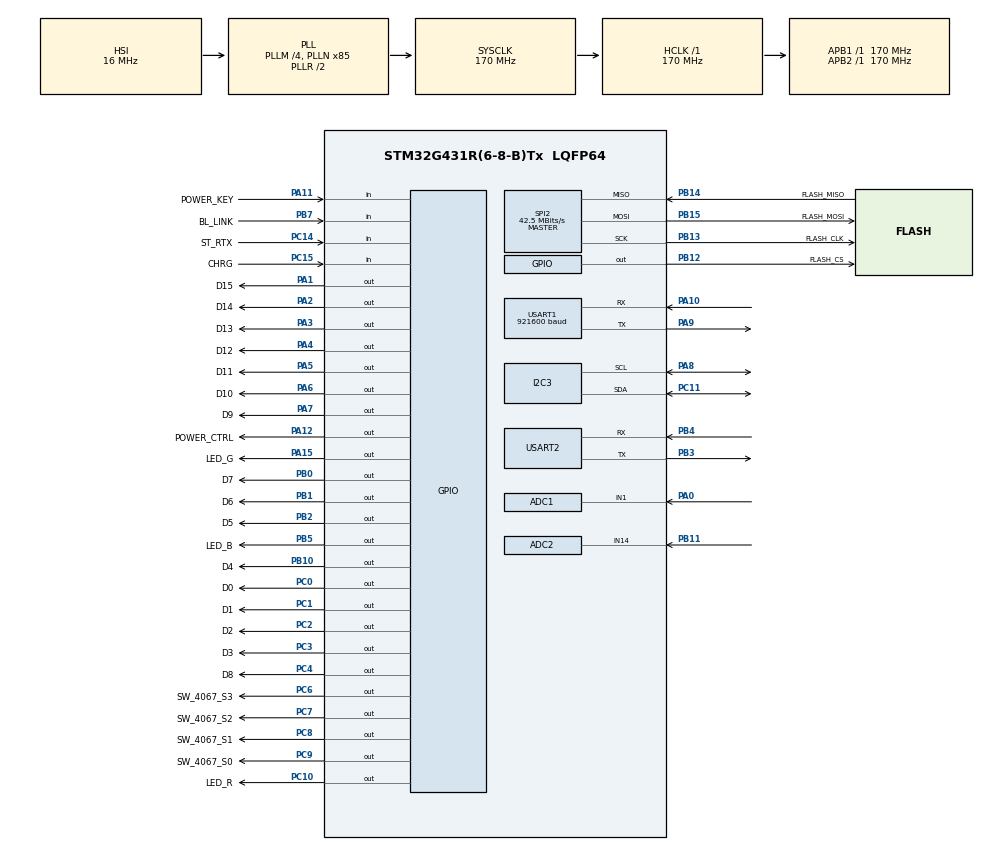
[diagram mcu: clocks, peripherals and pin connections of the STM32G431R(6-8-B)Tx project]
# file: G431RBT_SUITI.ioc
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ADC1.Channel-0\#ChannelRegularConversion=ADC_CHANNEL_1
ADC1.ContinuousConvMode=ENABLE
ADC1.DMAContinuousRequests=ENABLE
ADC1.NbrOfConversionFlag=1
ADC1.OffsetNumber-0\#ChannelRegularConversion=ADC_OFFSET_NONE
ADC1.Rank-0\#ChannelRegularConversion=1
ADC1.Resolution=ADC_RESOLUTION_12B
ADC1.SamplingTime-0\#ChannelRegularConversion=ADC_SAMPLETIME_640CYCLES_5
ADC1.master=1
ADC2.Channel-0\#ChannelRegularConversion=ADC_CHANNEL_14
ADC2.ContinuousConvMode=ENABLE
ADC2.DMAContinuousRequests=ENABLE
ADC2.NbrOfConversionFlag=1
ADC2.OffsetNumber-0\#ChannelRegularConversion=ADC_OFFSET_NONE
ADC2.Rank-0\#ChannelRegularConversion=1
ADC2.Resolution=ADC_RESOLUTION_8B
ADC2.SamplingTime-0\#ChannelRegularConversion=ADC_SAMPLETIME_2CYCLES_5
Dma.ADC1.0.Direction=DMA_PERIPH_TO_MEMORY
Dma.ADC1.0.EventEnable=DISABLE
Dma.ADC1.0.Instance=DMA1_Channel1
Dma.ADC1.0.MemDataAlignment=DMA_MDATAALIGN_BYTE
Dma.ADC1.0.MemInc=DMA_MINC_ENABLE
Dma.ADC1.0.Mode=DMA_NORMAL
Dma.ADC1.0.PeriphDataAlignment=DMA_PDATAALIGN_BYTE
Dma.ADC1.0.PeriphInc=DMA_PINC_DISABLE
Dma.ADC1.0.Polarity=HAL_DMAMUX_REQ_GEN_RISING
Dma.ADC1.0.Priority=DMA_PRIORITY_LOW
Dma.ADC1.0.RequestNumber=1
Dma.ADC1.0.SignalID=NONE
Dma.ADC1.0.SyncEnable=DISABLE
Dma.ADC1.0.SyncPolarity=HAL_DMAMUX_SYNC_NO_EVENT
Dma.ADC1.0.SyncRequestNumber=1
Dma.ADC1.0.SyncSignalID=NONE
Dma.ADC2.1.Direction=DMA_PERIPH_TO_MEMORY
Dma.ADC2.1.EventEnable=DISABLE
Dma.ADC2.1.Instance=DMA1_Channel2
Dma.ADC2.1.MemDataAlignment=DMA_MDATAALIGN_BYTE
Dma.ADC2.1.MemInc=DMA_MINC_ENABLE
Dma.ADC2.1.Mode=DMA_NORMAL
Dma.ADC2.1.PeriphDataAlignment=DMA_PDATAALIGN_BYTE
Dma.ADC2.1.PeriphInc=DMA_PINC_DISABLE
Dma.ADC2.1.Polarity=HAL_DMAMUX_REQ_GEN_RISING
Dma.ADC2.1.Priority=DMA_PRIORITY_LOW
Dma.ADC2.1.RequestNumber=1
Dma.ADC2.1.SignalID=NONE
Dma.ADC2.1.SyncEnable=DISABLE
Dma.ADC2.1.SyncPolarity=HAL_DMAMUX_SYNC_NO_EVENT
Dma.ADC2.1.SyncRequestNumber=1
Dma.ADC2.1.SyncSignalID=NONE
Dma.Request0=ADC1
Dma.Request1=ADC2
Dma.Request2=USART1_TX
Dma.Request3=USART2_RX
Dma.Request4=USART2_TX
Dma.Request5=SPI2_RX
Dma.Request6=SPI2_TX
Dma.Request7=USART1_RX
Dma.SPI2_RX.5.Direction=DMA_PERIPH_TO_MEMORY
Dma.SPI2_RX.5.EventEnable=DISABLE
Dma.SPI2_RX.5.Instance=DMA1_Channel6
Dma.SPI2_RX.5.MemDataAlignment=DMA_MDATAALIGN_BYTE
Dma.SPI2_RX.5.MemInc=DMA_MINC_ENABLE
Dma.SPI2_RX.5.Mode=DMA_NORMAL
Dma.SPI2_RX.5.PeriphDataAlignment=DMA_PDATAALIGN_BYTE
Dma.SPI2_RX.5.PeriphInc=DMA_PINC_DISABLE
Dma.SPI2_RX.5.Polarity=HAL_DMAMUX_REQ_GEN_RISING
Dma.SPI2_RX.5.Priority=DMA_PRIORITY_LOW
Dma.SPI2_RX.5.RequestNumber=1
Dma.SPI2_RX.5.SignalID=NONE
Dma.SPI2_RX.5.SyncEnable=DISABLE
Dma.SPI2_RX.5.SyncPolarity=HAL_DMAMUX_SYNC_NO_EVENT
Dma.SPI2_RX.5.SyncRequestNumber=1
Dma.SPI2_RX.5.SyncSignalID=NONE
Dma.SPI2_TX.6.Direction=DMA_MEMORY_TO_PERIPH
Dma.SPI2_TX.6.EventEnable=DISABLE
Dma.SPI2_TX.6.Instance=DMA2_Channel1
Dma.SPI2_TX.6.MemDataAlignment=DMA_MDATAALIGN_BYTE
Dma.SPI2_TX.6.MemInc=DMA_MINC_ENABLE
Dma.SPI2_TX.6.Mode=DMA_NORMAL
Dma.SPI2_TX.6.PeriphDataAlignment=DMA_PDATAALIGN_BYTE
Dma.SPI2_TX.6.PeriphInc=DMA_PINC_DISABLE
Dma.SPI2_TX.6.Polarity=HAL_DMAMUX_REQ_GEN_RISING
Dma.SPI2_TX.6.Priority=DMA_PRIORITY_LOW
Dma.SPI2_TX.6.RequestNumber=1
Dma.SPI2_TX.6.SignalID=NONE
Dma.SPI2_TX.6.SyncEnable=DISABLE
Dma.SPI2_TX.6.SyncPolarity=HAL_DMAMUX_SYNC_NO_EVENT
Dma.SPI2_TX.6.SyncRequestNumber=1
Dma.SPI2_TX.6.SyncSignalID=NONE
Dma.USART1_RX.7.Direction=DMA_PERIPH_TO_MEMORY
Dma.USART1_RX.7.EventEnable=DISABLE
Dma.USART1_RX.7.Instance=DMA2_Channel2
Dma.USART1_RX.7.MemDataAlignment=DMA_MDATAALIGN_BYTE
Dma.USART1_RX.7.MemInc=DMA_MINC_ENABLE
Dma.USART1_RX.7.Mode=DMA_NORMAL
Dma.USART1_RX.7.PeriphDataAlignment=DMA_PDATAALIGN_BYTE
Dma.USART1_RX.7.PeriphInc=DMA_PINC_DISABLE
Dma.USART1_RX.7.Polarity=HAL_DMAMUX_REQ_GEN_RISING
Dma.USART1_RX.7.Priority=DMA_PRIORITY_LOW
Dma.USART1_RX.7.RequestNumber=1
Dma.USART1_RX.7.SignalID=NONE
Dma.USART1_RX.7.SyncEnable=DISABLE
Dma.USART1_RX.7.SyncPolarity=HAL_DMAMUX_SYNC_NO_EVENT
Dma.USART1_RX.7.SyncRequestNumber=1
Dma.USART1_RX.7.SyncSignalID=NONE
Dma.USART1_TX.2.Direction=DMA_MEMORY_TO_PERIPH
Dma.USART1_TX.2.EventEnable=DISABLE
Dma.USART1_TX.2.Instance=DMA1_Channel3
Dma.USART1_TX.2.MemDataAlignment=DMA_MDATAALIGN_BYTE
Dma.USART1_TX.2.MemInc=DMA_MINC_ENABLE
Dma.USART1_TX.2.Mode=DMA_NORMAL
Dma.USART1_TX.2.PeriphDataAlignment=DMA_PDATAALIGN_BYTE
Dma.USART1_TX.2.PeriphInc=DMA_PINC_DISABLE
Dma.USART1_TX.2.Polarity=HAL_DMAMUX_REQ_GEN_RISING
Dma.USART1_TX.2.Priority=DMA_PRIORITY_LOW
Dma.USART1_TX.2.RequestNumber=1
Dma.USART1_TX.2.SignalID=NONE
Dma.USART1_TX.2.SyncEnable=DISABLE
Dma.USART1_TX.2.SyncPolarity=HAL_DMAMUX_SYNC_NO_EVENT
Dma.USART1_TX.2.SyncRequestNumber=1
Dma.USART1_TX.2.SyncSignalID=NONE
Dma.USART2_RX.3.Direction=DMA_PERIPH_TO_MEMORY
Dma.USART2_RX.3.EventEnable=DISABLE
Dma.USART2_RX.3.Instance=DMA1_Channel4
Dma.USART2_RX.3.MemDataAlignment=DMA_MDATAALIGN_BYTE
Dma.USART2_RX.3.MemInc=DMA_MINC_ENABLE
Dma.USART2_RX.3.Mode=DMA_NORMAL
Dma.USART2_RX.3.PeriphDataAlignment=DMA_PDATAALIGN_BYTE
Dma.USART2_RX.3.PeriphInc=DMA_PINC_DISABLE
Dma.USART2_RX.3.Polarity=HAL_DMAMUX_REQ_GEN_RISING
Dma.USART2_RX.3.Priority=DMA_PRIORITY_LOW
Dma.USART2_RX.3.RequestNumber=1
Dma.USART2_RX.3.SignalID=NONE
Dma.USART2_RX.3.SyncEnable=DISABLE
Dma.USART2_RX.3.SyncPolarity=HAL_DMAMUX_SYNC_NO_EVENT
Dma.USART2_RX.3.SyncRequestNumber=1
Dma.USART2_RX.3.SyncSignalID=NONE
Dma.USART2_TX.4.Direction=DMA_MEMORY_TO_PERIPH
Dma.USART2_TX.4.EventEnable=DISABLE
Dma.USART2_TX.4.Instance=DMA1_Channel5
Dma.USART2_TX.4.MemDataAlignment=DMA_MDATAALIGN_BYTE
Dma.USART2_TX.4.MemInc=DMA_MINC_ENABLE
Dma.USART2_TX.4.Mode=DMA_NORMAL
Dma.USART2_TX.4.PeriphDataAlignment=DMA_PDATAALIGN_BYTE
Dma.USART2_TX.4.PeriphInc=DMA_PINC_DISABLE
Dma.USART2_TX.4.Polarity=HAL_DMAMUX_REQ_GEN_RISING
Dma.USART2_TX.4.Priority=DMA_PRIORITY_LOW
Dma.USART2_TX.4.RequestNumber=1
Dma.USART2_TX.4.SignalID=NONE
Dma.USART2_TX.4.SyncEnable=DISABLE
Dma.USART2_TX.4.SyncPolarity=HAL_DMAMUX_SYNC_NO_EVENT
Dma.USART2_TX.4.SyncRequestNumber=1
Dma.USART2_TX.4.SyncSignalID=NONE
I2C3.Timing=0x40B285C2
Mcu.Family=STM32G4
Mcu.Name=STM32G431R(6-8-B)Tx
Mcu.Package=LQFP64
NVIC.DMA1_Channel1_IRQn=true\:0\:0\:false\:false\:true\:false\:true\:true
NVIC.DMA1_Channel2_IRQn=true\:0\:0\:false\:false\:true\:false\:true\:true
NVIC.DMA1_Channel3_IRQn=true\:0\:0\:false\:false\:true\:false\:true\:true
NVIC.DMA1_Channel4_IRQn=true\:0\:0\:false\:false\:true\:false\:true\:true
NVIC.DMA1_Channel5_IRQn=true\:0\:0\:false\:false\:true\:false\:true\:true
NVIC.DMA1_Channel6_IRQn=true\:0\:0\:false\:false\:true\:false\:true\:true
NVIC.DMA2_Channel1_IRQn=true\:0\:0\:false\:false\:true\:false\:true\:true
NVIC.DMA2_Channel2_IRQn=true\:0\:0\:false\:false\:true\:false\:true\:true
NVIC.PriorityGroup=NVIC_PRIORITYGROUP_4
NVIC.SPI2_IRQn=true\:0\:0\:false\:false\:true\:true\:true\:true
NVIC.USART1_IRQn=true\:0\:0\:false\:false\:true\:false\:true\:true
NVIC.USART2_IRQn=true\:0\:0\:false\:false\:true\:false\:true\:true
PA0.Mode=IN1-Single-Ended
PA0.Signal=ADC1_IN1
PA1.GPIO_Label=D15
PA1.GPIO_ModeDefaultOutputPP=GPIO_MODE_OUTPUT_PP
PA1.GPIO_PuPd=GPIO_NOPULL
PA1.GPIO_Speed=GPIO_SPEED_FREQ_VERY_HIGH
PA1.PinState=GPIO_PIN_RESET
PA1.Signal=GPIO_Output
PA10.Mode=Asynchronous
PA10.Signal=USART1_RX
PA11.GPIO_Label=POWER_KEY
PA11.GPIO_PuPd=GPIO_PULLUP
PA11.Signal=GPIO_Input
PA12.GPIO_Label=POWER_CTRL
PA12.GPIO_Speed=GPIO_SPEED_FREQ_LOW
PA12.PinState=GPIO_PIN_SET
PA12.Signal=GPIO_Output
PA13.Mode=Serial_Wire
PA13.Signal=SYS_JTMS-SWDIO
PA14.Mode=Serial_Wire
PA14.Signal=SYS_JTCK-SWCLK
PA15.GPIO_Label=LED_G
PA15.Signal=GPIO_Output
PA2.GPIO_Label=D14
PA2.GPIO_ModeDefaultOutputPP=GPIO_MODE_OUTPUT_PP
PA2.GPIO_PuPd=GPIO_NOPULL
PA2.GPIO_Speed=GPIO_SPEED_FREQ_VERY_HIGH
PA2.PinState=GPIO_PIN_RESET
PA2.Signal=GPIO_Output
PA3.GPIO_Label=D13
PA3.GPIO_ModeDefaultOutputPP=GPIO_MODE_OUTPUT_PP
PA3.GPIO_PuPd=GPIO_NOPULL
PA3.GPIO_Speed=GPIO_SPEED_FREQ_VERY_HIGH
PA3.PinState=GPIO_PIN_RESET
PA3.Signal=GPIO_Output
PA4.GPIO_Label=D12
PA4.GPIO_ModeDefaultOutputPP=GPIO_MODE_OUTPUT_PP
PA4.GPIO_PuPd=GPIO_NOPULL
PA4.GPIO_Speed=GPIO_SPEED_FREQ_VERY_HIGH
PA4.PinState=GPIO_PIN_RESET
PA4.Signal=GPIO_Output
PA5.GPIO_Label=D11
PA5.GPIO_ModeDefaultOutputPP=GPIO_MODE_OUTPUT_PP
PA5.GPIO_PuPd=GPIO_NOPULL
PA5.GPIO_Speed=GPIO_SPEED_FREQ_VERY_HIGH
PA5.PinState=GPIO_PIN_RESET
PA5.Signal=GPIO_Output
PA6.GPIO_Label=D10
PA6.GPIO_ModeDefaultOutputPP=GPIO_MODE_OUTPUT_PP
PA6.GPIO_PuPd=GPIO_NOPULL
PA6.GPIO_Speed=GPIO_SPEED_FREQ_VERY_HIGH
PA6.PinState=GPIO_PIN_RESET
PA6.Signal=GPIO_Output
PA7.GPIO_Label=D9
PA7.GPIO_ModeDefaultOutputPP=GPIO_MODE_OUTPUT_PP
PA7.GPIO_PuPd=GPIO_NOPULL
PA7.GPIO_Speed=GPIO_SPEED_FREQ_VERY_HIGH
PA7.PinState=GPIO_PIN_RESET
PA7.Signal=GPIO_Output
PA8.Mode=I2C
PA8.Signal=I2C3_SCL
PA9.Mode=Asynchronous
PA9.Signal=USART1_TX
PB0.GPIO_Label=D7
PB0.GPIO_ModeDefaultOutputPP=GPIO_MODE_OUTPUT_PP
PB0.GPIO_PuPd=GPIO_NOPULL
PB0.GPIO_Speed=GPIO_SPEED_FREQ_VERY_HIGH
PB0.PinState=GPIO_PIN_RESET
PB0.Signal=GPIO_Output
PB1.GPIO_Label=D6
PB1.GPIO_ModeDefaultOutputPP=GPIO_MODE_OUTPUT_PP
PB1.GPIO_PuPd=GPIO_NOPULL
PB1.GPIO_Speed=GPIO_SPEED_FREQ_VERY_HIGH
PB1.PinState=GPIO_PIN_RESET
PB1.Signal=GPIO_Output
PB10.GPIO_Label=D4
PB10.GPIO_ModeDefaultOutputPP=GPIO_MODE_OUTPUT_PP
PB10.GPIO_PuPd=GPIO_NOPULL
PB10.GPIO_Speed=GPIO_SPEED_FREQ_VERY_HIGH
PB10.PinState=GPIO_PIN_RESET
PB10.Signal=GPIO_Output
PB11.Mode=IN14-Single-Ended
PB11.Signal=ADC2_IN14
PB12.GPIO_Label=FLASH_CS
PB12.GPIO_Speed=GPIO_SPEED_FREQ_VERY_HIGH
PB12.PinState=GPIO_PIN_SET
PB12.Signal=GPIO_Output
PB13.GPIO_Label=FLASH_CLK
PB13.GPIO_Speed=GPIO_SPEED_FREQ_VERY_HIGH
PB13.Mode=Full_Duplex_Master
PB13.Signal=SPI2_SCK
PB14.GPIO_Label=FLASH_MISO
PB14.GPIO_Speed=GPIO_SPEED_FREQ_VERY_HIGH
PB14.Mode=Full_Duplex_Master
PB14.Signal=SPI2_MISO
PB15.GPIO_Label=FLASH_MOSI
PB15.GPIO_Speed=GPIO_SPEED_FREQ_VERY_HIGH
PB15.Mode=Full_Duplex_Master
PB15.Signal=SPI2_MOSI
PB2.GPIO_Label=D5
PB2.GPIO_ModeDefaultOutputPP=GPIO_MODE_OUTPUT_PP
PB2.GPIO_PuPd=GPIO_NOPULL
PB2.GPIO_Speed=GPIO_SPEED_FREQ_VERY_HIGH
PB2.PinState=GPIO_PIN_RESET
PB2.Signal=GPIO_Output
PB3.Mode=Asynchronous
PB3.Signal=USART2_TX
PB4.Mode=Asynchronous
PB4.Signal=USART2_RX
PB5.GPIO_Label=LED_B
PB5.Signal=GPIO_Output
PB7.GPIO_Label=BL_LINK
PB7.Signal=GPIO_Input
PC0.GPIO_Label=D0
PC0.GPIO_ModeDefaultOutputPP=GPIO_MODE_OUTPUT_PP
PC0.GPIO_PuPd=GPIO_NOPULL
PC0.GPIO_Speed=GPIO_SPEED_FREQ_VERY_HIGH
PC0.PinState=GPIO_PIN_RESET
PC0.Signal=GPIO_Output
PC1.GPIO_Label=D1
PC1.GPIO_ModeDefaultOutputPP=GPIO_MODE_OUTPUT_PP
PC1.GPIO_PuPd=GPIO_NOPULL
PC1.GPIO_Speed=GPIO_SPEED_FREQ_VERY_HIGH
PC1.PinState=GPIO_PIN_RESET
PC1.Signal=GPIO_Output
PC10.GPIO_Label=LED_R
PC10.Signal=GPIO_Output
PC11.Mode=I2C
PC11.Signal=I2C3_SDA
PC14-OSC32_IN.GPIO_Label=ST_RTX
PC14-OSC32_IN.Signal=GPIO_Input
PC15-OSC32_OUT.GPIO_Label=CHRG
PC15-OSC32_OUT.Signal=GPIO_Input
PC2.GPIO_Label=D2
PC2.GPIO_ModeDefaultOutputPP=GPIO_MODE_OUTPUT_PP
PC2.GPIO_PuPd=GPIO_NOPULL
PC2.GPIO_Speed=GPIO_SPEED_FREQ_VERY_HIGH
PC2.PinState=GPIO_PIN_RESET
PC2.Signal=GPIO_Output
PC3.GPIO_Label=D3
PC3.GPIO_ModeDefaultOutputPP=GPIO_MODE_OUTPUT_PP
PC3.GPIO_PuPd=GPIO_NOPULL
PC3.GPIO_Speed=GPIO_SPEED_FREQ_VERY_HIGH
PC3.PinState=GPIO_PIN_RESET
PC3.Signal=GPIO_Output
PC4.GPIO_Label=D8
PC4.GPIO_ModeDefaultOutputPP=GPIO_MODE_OUTPUT_PP
PC4.GPIO_PuPd=GPIO_NOPULL
PC4.GPIO_Speed=GPIO_SPEED_FREQ_VERY_HIGH
PC4.PinState=GPIO_PIN_RESET
PC4.Signal=GPIO_Output
PC6.GPIO_Label=SW_4067_S3
PC6.GPIO_ModeDefaultOutputPP=GPIO_MODE_OUTPUT_PP
PC6.GPIO_PuPd=GPIO_NOPULL
PC6.GPIO_Speed=GPIO_SPEED_FREQ_VERY_HIGH
PC6.PinState=GPIO_PIN_RESET
PC6.Signal=GPIO_Output
PC7.GPIO_Label=SW_4067_S2
PC7.GPIO_ModeDefaultOutputPP=GPIO_MODE_OUTPUT_PP
PC7.GPIO_PuPd=GPIO_NOPULL
PC7.GPIO_Speed=GPIO_SPEED_FREQ_VERY_HIGH
PC7.PinState=GPIO_PIN_RESET
PC7.Signal=GPIO_Output
PC8.GPIO_Label=SW_4067_S1
PC8.GPIO_ModeDefaultOutputPP=GPIO_MODE_OUTPUT_PP
PC8.GPIO_PuPd=GPIO_NOPULL
PC8.GPIO_Speed=GPIO_SPEED_FREQ_VERY_HIGH
PC8.PinState=GPIO_PIN_RESET
PC8.Signal=GPIO_Output
PC9.GPIO_Label=SW_4067_S0
PC9.GPIO_ModeDefaultOutputPP=GPIO_MODE_OUTPUT_PP
PC9.GPIO_PuPd=GPIO_NOPULL
PC9.GPIO_Speed=GPIO_SPEED_FREQ_VERY_HIGH
PC9.PinState=GPIO_PIN_RESET
PC9.Signal=GPIO_Output
PF0-OSC_IN.Mode=HSE-External-Oscillator
PF0-OSC_IN.Signal=RCC_OSC_IN
PF1-OSC_OUT.Mode=HSE-External-Oscillator
PF1-OSC_OUT.Signal=RCC_OSC_OUT
ProjectManager.HeapSize=0x200
ProjectManager.StackSize=0x400
ProjectManager.TargetToolchain=MDK-ARM V5.32
RCC.ADC12Freq_Value=170000000
RCC.AHBFreq_Value=170000000
RCC.APB1Freq_Value=170000000
RCC.APB1TimFreq_Value=170000000
RCC.APB2Freq_Value=170000000
RCC.APB2TimFreq_Value=170000000
RCC.CortexFreq_Value=170000000
RCC.EXTERNAL_CLOCK_VALUE=12288000
RCC.HCLKFreq_Value=170000000
RCC.HSE_VALUE=8000000
RCC.HSI48_VALUE=48000000
RCC.HSI_VALUE=16000000
RCC.LSE_VALUE=32768
RCC.PLLM=RCC_PLLM_DIV4
RCC.PLLN=85
RCC.SYSCLKFreq_VALUE=170000000
RCC.SYSCLKSource=RCC_SYSCLKSOURCE_PLLCLK
RCC.USBFreq_Value=170000000
RCC.VCOOutputFreq_Value=340000000
SPI2.BaudRatePrescaler=SPI_BAUDRATEPRESCALER_4
SPI2.CalculateBaudRate=42.5 MBits/s
SPI2.DataSize=SPI_DATASIZE_8BIT
SPI2.Direction=SPI_DIRECTION_2LINES
SPI2.Mode=SPI_MODE_MASTER
SPI2.NSSPMode=SPI_NSS_PULSE_DISABLE
SPI2.VirtualType=VM_MASTER
USART1.BaudRate=921600
USART1.VirtualMode-Asynchronous=VM_ASYNC
USART2.VirtualMode-Asynchronous=VM_ASYNC
VP_IWDG_VS_IWDG.Mode=IWDG_Activate
VP_SYS_VS_DBSignals.Mode=DisableDeadBatterySignals
board=custom

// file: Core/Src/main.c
/* USER CODE BEGIN Header */
/**
 ******************************************************************************
 * @file           : main.c
 * @brief          : Main program body
 ******************************************************************************
 * @attention
 *
 * Copyright (c) 2025 STMicroelectronics.
 * All rights reserved.
 *
 * This software is licensed under terms that can be found in the LICENSE file
 * in the root directory of this software component.
 * If no LICENSE file comes with this software, it is provided AS-IS.
 *
 ******************************************************************************
 */
/* USER CODE END Header */
#include "main.h"
#include "adc.h"
#include "dma.h"
#include "i2c.h"
#include "iwdg.h"
#include "spi.h"
#include "usart.h"
#include "gpio.h"

/* USER CODE BEGIN Includes */
#include "user_comm.h"
/* USER CODE END Includes */

void SystemClock_Config(void);

int main(void)
{

    /* MCU Configuration--------------------------------------------------------*/

    /* Reset of all peripherals, Initializes the Flash interface and the Systick. */
    HAL_Init();

    /* Configure the system clock */
    SystemClock_Config();

    /* Initialize all configured peripherals */
    MX_GPIO_Init();
    MX_DMA_Init();
    MX_ADC1_Init();
    MX_ADC2_Init();
    MX_I2C3_Init();
    MX_SPI2_Init();
    MX_USART1_UART_Init();
    MX_USART2_UART_Init();
    MX_IWDG_Init();
    /* USER CODE BEGIN 2 */

    delay_init();

    all_led_off();

    crc32_init();
    // xt25f_chip_erase();
    // flash_test();
    // get_writted_number();

    start_uart_rx();

    HAL_ADC_Start_DMA(&hadc1, (uint32_t *)adc_dma_buffer, ADC_BUFFER_SIZE);
    HAL_ADC_Start_DMA(&hadc2, (uint32_t *)bat_val_dma_buf, ADC2_DMA_BUF_LEN);

    SD_Init_SDSC();

    HAL_Delay(100);

    look_for_used_block_test();

    /* USER CODE END 2 */

    /* Infinite loop */
    /* USER CODE BEGIN WHILE */
    uint32_t times = 0;

    // sd write test
    while (0)
    {

        HAL_IWDG_Refresh(&hiwdg);
        // delay_ms(1000);
        // test_sd_card(times);
        uint32_t start_time = HAL_GetTick();
        for (times = 0; times < 100; times++)
        {
            HAL_IWDG_Refresh(&hiwdg);
            if (Write_Single_Block(times, WriteBuffer) != SD_OK)
            {
                DBG_PRINTF("Write block %lu failed\r\n", times);
                break;
            }
            // Write_Single_Block(times, WriteBuffer);
        }

        uint32_t end_time = HAL_GetTick();
        // 100个blck需要700多ms
        DBG_PRINTF("Written 100 blocks in %lu ms\r\n", end_time - start_time);

        // DBG_PRINTF("Test SD Card\r\n");
    }

    while (1)
    {
        HAL_IWDG_Refresh(&hiwdg);
    }

    while (1)
    {

        // 记得加入按键发送消息
        // 喂狗
        HAL_IWDG_Refresh(&hiwdg);

        key_task();

        led_task();

        bat_task();

        u2_task();

        bl_link_status_check();

        main_adc_task();

        imu_rest_cmd_task();

        /* USER CODE END WHILE */

    }
}

void SystemClock_Config(void)
{
    RCC_OscInitTypeDef RCC_OscInitStruct = {0};
    RCC_ClkInitTypeDef RCC_ClkInitStruct = {0};

    /** Configure the main internal regulator output voltage
     */
    HAL_PWREx_ControlVoltageScaling(PWR_REGULATOR_VOLTAGE_SCALE1_BOOST);

    /** Initializes the RCC Oscillators according to the specified parameters
     * in the RCC_OscInitTypeDef structure.
     */
    RCC_OscInitStruct.OscillatorType = RCC_OSCILLATORTYPE_HSI | RCC_OSCILLATORTYPE_LSI;
    RCC_OscInitStruct.HSIState = RCC_HSI_ON;
    RCC_OscInitStruct.HSICalibrationValue = RCC_HSICALIBRATION_DEFAULT;
    RCC_OscInitStruct.LSIState = RCC_LSI_ON;
    RCC_OscInitStruct.PLL.PLLState = RCC_PLL_ON;
    RCC_OscInitStruct.PLL.PLLSource = RCC_PLLSOURCE_HSI;
    RCC_OscInitStruct.PLL.PLLM = RCC_PLLM_DIV4;
    RCC_OscInitStruct.PLL.PLLN = 85;
    RCC_OscInitStruct.PLL.PLLP = RCC_PLLP_DIV2;
    RCC_OscInitStruct.PLL.PLLQ = RCC_PLLQ_DIV2;
    RCC_OscInitStruct.PLL.PLLR = RCC_PLLR_DIV2;
    if (HAL_RCC_OscConfig(&RCC_OscInitStruct) != HAL_OK)
    {
        Error_Handler();
    }

    /** Initializes the CPU, AHB and APB buses clocks
     */
    RCC_ClkInitStruct.ClockType = RCC_CLOCKTYPE_HCLK | RCC_CLOCKTYPE_SYSCLK | RCC_CLOCKTYPE_PCLK1 | RCC_CLOCKTYPE_PCLK2;
    RCC_ClkInitStruct.SYSCLKSource = RCC_SYSCLKSOURCE_PLLCLK;
    RCC_ClkInitStruct.AHBCLKDivider = RCC_SYSCLK_DIV1;
    RCC_ClkInitStruct.APB1CLKDivider = RCC_HCLK_DIV1;
    RCC_ClkInitStruct.APB2CLKDivider = RCC_HCLK_DIV1;

    if (HAL_RCC_ClockConfig(&RCC_ClkInitStruct, FLASH_LATENCY_4) != HAL_OK)
    {
        Error_Handler();
    }
}

void Error_Handler(void)
{
    __disable_irq();
    while (1)
    {
    }
}
